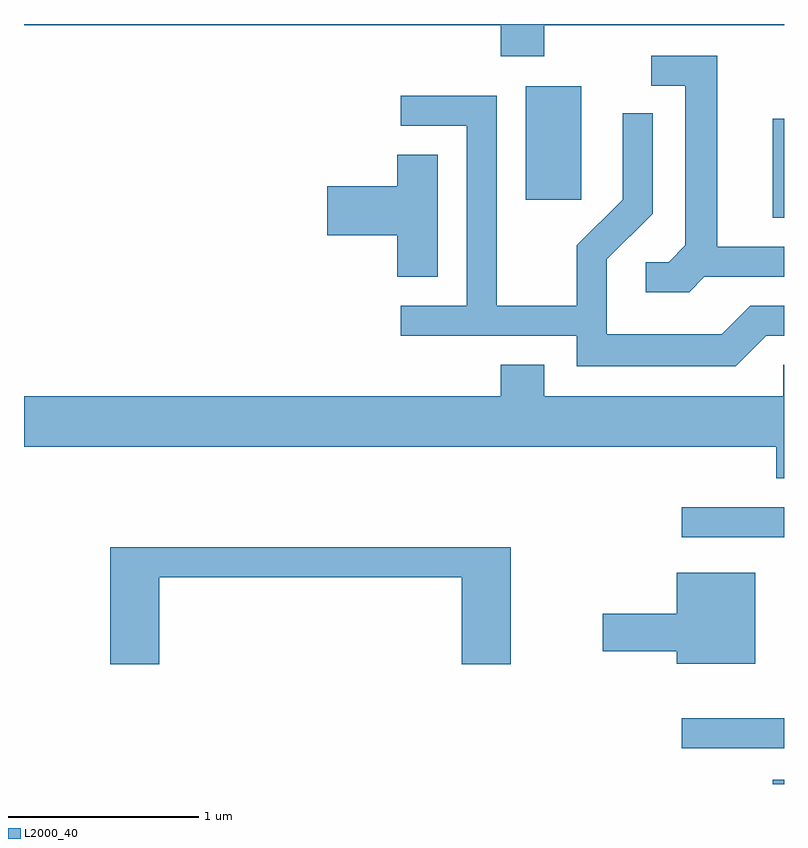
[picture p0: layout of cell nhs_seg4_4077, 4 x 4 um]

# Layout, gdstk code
import gdstk
lib = gdstk.Library(unit=1e-6, precision=1e-09)
def R(c, l, rs):  # rectangles x0, y0, x1, y1
    for r in rs: c.add(gdstk.rectangle(r[:2], r[2:], *l))
def P(c, l, *ps):  # polygons
    for p in ps: c.add(gdstk.Polygon(p, *l))
L2000_40 = (2000, 40)

nhs_seg4_4077 = lib.new_cell('nhs_seg4_4077')
R(nhs_seg4_4077, L2000_40, [(307.551,1383.982,307.611,1384.004), (307.073,1384.171,307.611,1384.329), (307.073,1385.281,307.611,1385.439), (307.551,1386.961,307.611,1387.484), (306.251,1387.056,306.544,1387.654)])
P(nhs_seg4_4077, L2000_40, [(306.349,1387.976),(307.611,1387.976),(307.611,1387.982),(303.611,1387.982),(303.611,1387.976),(306.121,1387.976),(306.121,1387.811),(306.349,1387.811)],
  [(307.192,1386.651),(307.611,1386.651),(307.611,1386.809),(307.259,1386.809),(307.259,1387.814),(306.913,1387.814),(306.913,1387.656),(307.091,1387.656),(307.091,1386.817),(307.004,1386.729),(306.883,1386.729),(306.883,1386.571),(307.112,1386.571)],
  [(307.517,1386.341),(307.611,1386.341),(307.611,1386.499),(307.434,1386.499),(307.284,1386.349),(306.679,1386.349),(306.679,1386.744),(306.919,1386.984),(306.919,1387.513),(306.761,1387.513),(306.761,1387.057),(306.521,1386.817),(306.521,1386.499),(306.099,1386.499),(306.099,1387.604),(305.593,1387.604),(305.593,1387.446),(305.941,1387.446),(305.941,1386.499),(305.593,1386.499),(305.593,1386.341),(306.521,1386.341),(306.521,1386.181),(307.357,1386.181)],
  [(305.789,1387.294),(305.576,1387.294),(305.576,1387.129),(305.206,1387.129),(305.206,1386.871),(305.576,1386.871),(305.576,1386.651),(305.789,1386.651)],
  [(307.611,1386.189),(307.606,1386.189),(307.606,1386.024),(306.349,1386.024),(306.349,1386.189),(306.121,1386.189),(306.121,1386.024),(303.611,1386.024),(303.611,1385.756),(307.571,1385.756),(307.571,1385.591),(307.611,1385.591)],
  [(304.324,1385.071),(305.916,1385.071),(305.916,1384.611),(306.174,1384.611),(306.174,1385.229),(304.066,1385.229),(304.066,1384.611),(304.324,1384.611)],
  [(307.459,1385.094),(307.046,1385.094),(307.046,1384.879),(306.656,1384.879),(306.656,1384.681),(307.046,1384.681),(307.046,1384.616),(307.459,1384.616)])

lib.write_gds('nhs_seg4_4077.gds')
